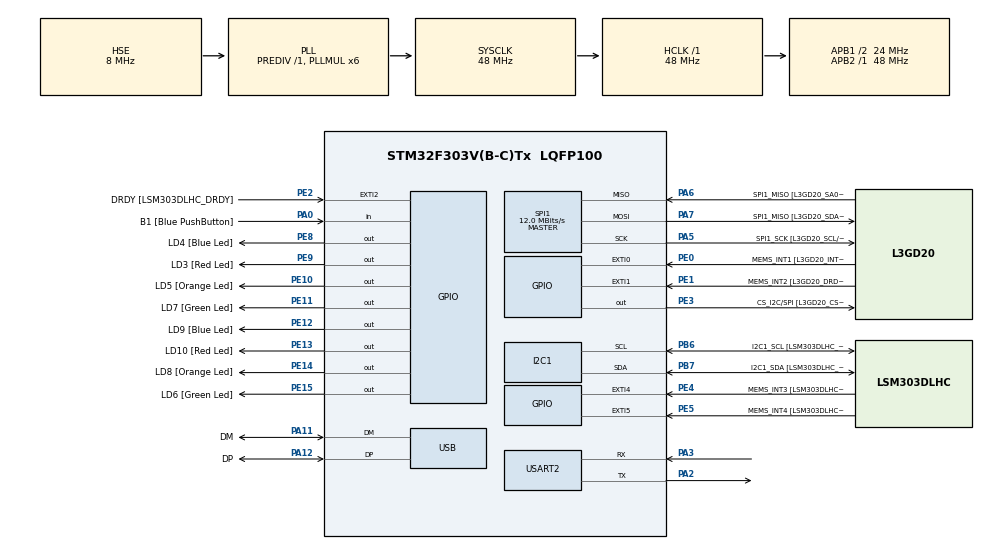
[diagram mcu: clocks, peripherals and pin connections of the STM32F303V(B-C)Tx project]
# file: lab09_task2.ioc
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I2C1.Timing=0x00201D2B
I2C1.Timing-I2C=0x2000090E
Mcu.Family=STM32F3
Mcu.Name=STM32F303V(B-C)Tx
Mcu.Package=LQFP100
NVIC.I2C1_ER_IRQn=true\:0\:0\:false\:false\:true\:true\:true\:true
NVIC.I2C1_EV_IRQn=true\:0\:0\:false\:false\:true\:true\:true\:true
NVIC.PriorityGroup=NVIC_PRIORITYGROUP_0
PA0.GPIO_Label=B1 [Blue PushButton]
PA0.Signal=GPIO_Input
PA11.GPIO_Label=DM
PA11.Mode=Device
PA11.Signal=USB_DM
PA12.GPIO_Label=DP
PA12.Mode=Device
PA12.Signal=USB_DP
PA13.GPIO_Label=SWDIO
PA13.Mode=Serial_Wire
PA13.Signal=SYS_JTMS-SWDIO
PA14.GPIO_Label=SWCLK
PA14.Mode=Serial_Wire
PA14.Signal=SYS_JTCK-SWCLK
PA2.Mode=Asynchronous
PA2.Signal=USART2_TX
PA3.Mode=Asynchronous
PA3.Signal=USART2_RX
PA5.GPIO_Label=SPI1_SCK [L3GD20_SCL/SPC]
PA5.Mode=Full_Duplex_Master
PA5.Signal=SPI1_SCK
PA6.GPIO_Label=SPI1_MISO [L3GD20_SA0/SDO]
PA6.Mode=Full_Duplex_Master
PA6.Signal=SPI1_MISO
PA7.GPIO_Label=SPI1_MISO [L3GD20_SDA/SDI/SDO]
PA7.Mode=Full_Duplex_Master
PA7.Signal=SPI1_MOSI
PB3.GPIO_Label=SWO
PB3.Signal=SYS_JTDO-TRACESWO
PB6.GPIO_Label=I2C1_SCL [LSM303DLHC_SCL]
PB6.GPIO_Pu=GPIO_PULLUP
PB6.Mode=I2C
PB6.Signal=I2C1_SCL
PB7.GPIO_Label=I2C1_SDA [LSM303DLHC_SDA]
PB7.GPIO_Pu=GPIO_PULLUP
PB7.Mode=I2C
PB7.Signal=I2C1_SDA
PC14-OSC32_IN.GPIO_Label=OSC32_IN
PC14-OSC32_IN.Signal=RCC_OSC32_IN
PC15-OSC32_OUT.GPIO_Label=OSC32_OUT
PC15-OSC32_OUT.Signal=RCC_OSC32_OUT
PE0.GPIO_Label=MEMS_INT1 [L3GD20_INT1]
PE0.GPIO_ModeDefaultEXTI=GPIO_MODE_EVT_RISING
PE0.Signal=GPXTI0
PE1.GPIO_Label=MEMS_INT2 [L3GD20_DRDY/INT2]
PE1.GPIO_ModeDefaultEXTI=GPIO_MODE_EVT_RISING
PE1.Signal=GPXTI1
PE10.GPIO_Label=LD5 [Orange Led]
PE10.Signal=GPIO_Output
PE11.GPIO_Label=LD7 [Green Led]
PE11.Signal=GPIO_Output
PE12.GPIO_Label=LD9 [Blue Led]
PE12.Signal=GPIO_Output
PE13.GPIO_Label=LD10 [Red Led]
PE13.Signal=GPIO_Output
PE14.GPIO_Label=LD8 [Orange Led]
PE14.Signal=GPIO_Output
PE15.GPIO_Label=LD6 [Green Led]
PE15.Signal=GPIO_Output
PE2.GPIO_Label=DRDY [LSM303DLHC_DRDY]
PE2.GPIO_ModeDefaultEXTI=GPIO_MODE_EVT_RISING
PE2.Signal=GPXTI2
PE3.GPIO_Label=CS_I2C/SPI [L3GD20_CS_I2C/SPI]
PE3.Signal=GPIO_Output
PE4.GPIO_Label=MEMS_INT3 [LSM303DLHC_INT1]
PE4.GPIO_ModeDefaultEXTI=GPIO_MODE_EVT_RISING
PE4.Signal=GPXTI4
PE5.GPIO_Label=MEMS_INT4 [LSM303DLHC_INT2]
PE5.GPIO_ModeDefaultEXTI=GPIO_MODE_EVT_RISING
PE5.Signal=GPXTI5
PE8.GPIO_Label=LD4 [Blue Led]
PE8.Signal=GPIO_Output
PE9.GPIO_Label=LD3 [Red Led]
PE9.Signal=GPIO_Output
PF0-OSC_IN.GPIO_Label=OSC_IN
PF0-OSC_IN.Mode=HSE-External-Clock-Source
PF0-OSC_IN.Signal=RCC_OSC_IN
PF1-OSC_OUT.GPIO_Label=OSC_OUT
PF1-OSC_OUT.Signal=RCC_OSC_OUT
ProjectManager.HeapSize=0x200
ProjectManager.StackSize=0x400
ProjectManager.TargetToolchain=CMake
RCC.AHBFreq_Value=48000000
RCC.APB1CLKDivider=RCC_HCLK_DIV2
RCC.APB1Freq_Value=24000000
RCC.APB1TimFreq_Value=48000000
RCC.APB2Freq_Value=48000000
RCC.APB2TimFreq_Value=48000000
RCC.CortexFreq_Value=48000000
RCC.HCLKFreq_Value=48000000
RCC.HSE_VALUE=8000000
RCC.HSI_VALUE=8000000
RCC.LSE_VALUE=32768
RCC.PLLMUL=RCC_PLL_MUL6
RCC.SYSCLKFreq_VALUE=48000000
RCC.SYSCLKSourceVirtual=RCC_SYSCLKSOURCE_PLLCLK
RCC.USBFreq_Value=48000000
SPI1.BaudRatePrescaler=SPI_BAUDRATEPRESCALER_4
SPI1.BaudRatePrescaler-Full_Duplex_Master=SPI_BAUDRATEPRESCALER_2
SPI1.CalculateBaudRate=12.0 MBits/s
SPI1.CalculateBaudRate-Full_Duplex_Master=24.0 MBits/s
SPI1.Direction=SPI_DIRECTION_2LINES
SPI1.Mode=SPI_MODE_MASTER
SPI1.Mode-Full_Duplex_Master=SPI_MODE_MASTER
SPI1.VirtualType=VM_MASTER
USART2.VirtualMode-Asynchronous=VM_ASYNC
board=STM32F3DISCOVERY

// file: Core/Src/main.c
/* USER CODE BEGIN Header */
/**
  ******************************************************************************
  * @file           : main.c
  * @brief          : Main program body
  ******************************************************************************
  * @attention
  *
  * Copyright (c) 2026 STMicroelectronics.
  * All rights reserved.
  *
  * This software is licensed under terms that can be found in the LICENSE file
  * in the root directory of this software component.
  * If no LICENSE file comes with this software, it is provided AS-IS.
  *
  ******************************************************************************
  */
/* USER CODE END Header */
#include "main.h"

/* USER CODE BEGIN Includes */
#include <stdio.h>
#include <string.h>
#include <stdlib.h>
/* USER CODE END Includes */

/* USER CODE BEGIN PD */
#define LSM_ADDR (0x19 << 1)
/* USER CODE END PD */

I2C_HandleTypeDef hi2c1;

SPI_HandleTypeDef hspi1;

UART_HandleTypeDef huart2;

PCD_HandleTypeDef hpcd_USB_FS;

/* USER CODE BEGIN PV */
long ax, ay, az;
long offset_x = 0, offset_y = 0, offset_z = 0;
/* USER CODE END PV */

void SystemClock_Config(void);
static void MX_GPIO_Init(void);
static void MX_I2C1_Init(void);
static void MX_SPI1_Init(void);
static void MX_USB_PCD_Init(void);
static void MX_USART2_UART_Init(void);

/* USER CODE BEGIN 0 */

/* USER CODE BEGIN 0 */

// Initialize LSM303 accelerometer
void Init_LSM(void)
{
    uint8_t data = 0x67;

    HAL_I2C_Mem_Write(&hi2c1, LSM_ADDR, 0x20, I2C_MEMADD_SIZE_8BIT, &data, 1, 100);

    data = 0x00;

    HAL_I2C_Mem_Write(&hi2c1, LSM_ADDR, 0x23,  I2C_MEMADD_SIZE_8BIT, &data, 1, 100);
}

// Read X, Y, Z acceleration
HAL_StatusTypeDef Read_LSM(void)
{
    uint8_t data[6];

    HAL_StatusTypeDef status = HAL_I2C_Mem_Read(
        &hi2c1, LSM_ADDR, 0x28 | 0x80,
        I2C_MEMADD_SIZE_8BIT, data, 6, 100);

    if (status != HAL_OK)
        return status;

    // Combine low and high bytes
    int16_t x_raw = (int16_t)(((uint16_t)data[1] << 8) | data[0]);
    int16_t y_raw = (int16_t)(((uint16_t)data[3] << 8) | data[2]);
    int16_t z_raw = (int16_t)(((uint16_t)data[5] << 8) | data[4]);

    // Convert to mg using integer calculations
    ax = ((long)x_raw * 39 / 640) - offset_x;
    ay = ((long)y_raw * 39 / 640) - offset_y;
    az = ((long)z_raw * 39 / 640) - offset_z;

    return HAL_OK;
}

// Calculate offsets using 20 readings
void Offset_LSM(void)
{
  long sx = 0, sy = 0, sz = 0;

  for (int i = 0; i < 20; i++)
  {
    if (Read_LSM() == HAL_OK)
    {
      sx += ax;
      sy += ay;
      sz += az;
    }
    HAL_Delay(20);
  }

  offset_x = sx / 20;
  offset_y = sy / 20;

  // Preserve gravity on Z axis
  long avg_z = sz / 20;

  if (avg_z >= 0) offset_z = avg_z - 1000;
  else offset_z = avg_z + 1000;
}

/* USER CODE END 0 */

int main(void)
{

  /* MCU Configuration--------------------------------------------------------*/

  /* Reset of all peripherals, Initializes the Flash interface and the Systick. */
  HAL_Init();

  /* Configure the system clock */
  SystemClock_Config();

  /* Initialize all configured peripherals */
  MX_GPIO_Init();
  MX_I2C1_Init();
  MX_SPI1_Init();
  MX_USB_PCD_Init();
  MX_USART2_UART_Init();
  /* USER CODE BEGIN 2 */
  Init_LSM();
  HAL_Delay(100);
  Offset_LSM();
  /* USER CODE END 2 */

  /* Infinite loop */
  while (1)
  {

    /* USER CODE BEGIN 3 */

    char msg[100];
    if (Read_LSM() == HAL_OK)
    {
        long x = ax;
        long y = ay;
        long z = az;
        sprintf(msg,
                "X: %s%ld.%03ld g, Y: %s%ld.%03ld g, Z: %s%ld.%03ld g\r\n",
                x < 0 ? "-" : "", labs(x) / 1000, labs(x) % 1000,
                y < 0 ? "-" : "", labs(y) / 1000, labs(y) % 1000,
                z < 0 ? "-" : "", labs(z) / 1000, labs(z) % 1000);

        HAL_UART_Transmit(&huart2, (uint8_t*)msg, strlen(msg), HAL_MAX_DELAY);
    }
    HAL_Delay(100);

  }
  /* USER CODE END 3 */
}

void SystemClock_Config(void)
{
  RCC_OscInitTypeDef RCC_OscInitStruct = {0};
  RCC_ClkInitTypeDef RCC_ClkInitStruct = {0};
  RCC_PeriphCLKInitTypeDef PeriphClkInit = {0};

  /** Initializes the RCC Oscillators according to the specified parameters
  * in the RCC_OscInitTypeDef structure.
  */
  RCC_OscInitStruct.OscillatorType = RCC_OSCILLATORTYPE_HSI|RCC_OSCILLATORTYPE_HSE;
  RCC_OscInitStruct.HSEState = RCC_HSE_BYPASS;
  RCC_OscInitStruct.HSEPredivValue = RCC_HSE_PREDIV_DIV1;
  RCC_OscInitStruct.HSIState = RCC_HSI_ON;
  RCC_OscInitStruct.HSICalibrationValue = RCC_HSICALIBRATION_DEFAULT;
  RCC_OscInitStruct.PLL.PLLState = RCC_PLL_ON;
  RCC_OscInitStruct.PLL.PLLSource = RCC_PLLSOURCE_HSE;
  RCC_OscInitStruct.PLL.PLLMUL = RCC_PLL_MUL6;
  if (HAL_RCC_OscConfig(&RCC_OscInitStruct) != HAL_OK)
  {
    Error_Handler();
  }

  /** Initializes the CPU, AHB and APB buses clocks
  */
  RCC_ClkInitStruct.ClockType = RCC_CLOCKTYPE_HCLK|RCC_CLOCKTYPE_SYSCLK
                              |RCC_CLOCKTYPE_PCLK1|RCC_CLOCKTYPE_PCLK2;
  RCC_ClkInitStruct.SYSCLKSource = RCC_SYSCLKSOURCE_PLLCLK;
  RCC_ClkInitStruct.AHBCLKDivider = RCC_SYSCLK_DIV1;
  RCC_ClkInitStruct.APB1CLKDivider = RCC_HCLK_DIV2;
  RCC_ClkInitStruct.APB2CLKDivider = RCC_HCLK_DIV1;

  if (HAL_RCC_ClockConfig(&RCC_ClkInitStruct, FLASH_LATENCY_1) != HAL_OK)
  {
    Error_Handler();
  }
  PeriphClkInit.PeriphClockSelection = RCC_PERIPHCLK_USB|RCC_PERIPHCLK_USART2
                              |RCC_PERIPHCLK_I2C1;
  PeriphClkInit.Usart2ClockSelection = RCC_USART2CLKSOURCE_PCLK1;
  PeriphClkInit.I2c1ClockSelection = RCC_I2C1CLKSOURCE_HSI;
  PeriphClkInit.USBClockSelection = RCC_USBCLKSOURCE_PLL;
  if (HAL_RCCEx_PeriphCLKConfig(&PeriphClkInit) != HAL_OK)
  {
    Error_Handler();
  }
}

static void MX_I2C1_Init(void)
{

  hi2c1.Instance = I2C1;
  hi2c1.Init.Timing = 0x00201D2B;
  hi2c1.Init.OwnAddress1 = 0;
  hi2c1.Init.AddressingMode = I2C_ADDRESSINGMODE_7BIT;
  hi2c1.Init.DualAddressMode = I2C_DUALADDRESS_DISABLE;
  hi2c1.Init.OwnAddress2 = 0;
  hi2c1.Init.OwnAddress2Masks = I2C_OA2_NOMASK;
  hi2c1.Init.GeneralCallMode = I2C_GENERALCALL_DISABLE;
  hi2c1.Init.NoStretchMode = I2C_NOSTRETCH_DISABLE;
  if (HAL_I2C_Init(&hi2c1) != HAL_OK)
  {
    Error_Handler();
  }

  /** Configure Analogue filter
  */
  if (HAL_I2CEx_ConfigAnalogFilter(&hi2c1, I2C_ANALOGFILTER_ENABLE) != HAL_OK)
  {
    Error_Handler();
  }

  /** Configure Digital filter
  */
  if (HAL_I2CEx_ConfigDigitalFilter(&hi2c1, 0) != HAL_OK)
  {
    Error_Handler();
  }

}

static void MX_SPI1_Init(void)
{

  /* SPI1 parameter configuration*/
  hspi1.Instance = SPI1;
  hspi1.Init.Mode = SPI_MODE_MASTER;
  hspi1.Init.Direction = SPI_DIRECTION_2LINES;
  hspi1.Init.DataSize = SPI_DATASIZE_4BIT;
  hspi1.Init.CLKPolarity = SPI_POLARITY_LOW;
  hspi1.Init.CLKPhase = SPI_PHASE_1EDGE;
  hspi1.Init.NSS = SPI_NSS_SOFT;
  hspi1.Init.BaudRatePrescaler = SPI_BAUDRATEPRESCALER_4;
  hspi1.Init.FirstBit = SPI_FIRSTBIT_MSB;
  hspi1.Init.TIMode = SPI_TIMODE_DISABLE;
  hspi1.Init.CRCCalculation = SPI_CRCCALCULATION_DISABLE;
  hspi1.Init.CRCPolynomial = 7;
  hspi1.Init.CRCLength = SPI_CRC_LENGTH_DATASIZE;
  hspi1.Init.NSSPMode = SPI_NSS_PULSE_ENABLE;
  if (HAL_SPI_Init(&hspi1) != HAL_OK)
  {
    Error_Handler();
  }

}

static void MX_USART2_UART_Init(void)
{

  huart2.Instance = USART2;
  huart2.Init.BaudRate = 115200;
  huart2.Init.WordLength = UART_WORDLENGTH_8B;
  huart2.Init.StopBits = UART_STOPBITS_1;
  huart2.Init.Parity = UART_PARITY_NONE;
  huart2.Init.Mode = UART_MODE_TX_RX;
  huart2.Init.HwFlowCtl = UART_HWCONTROL_NONE;
  huart2.Init.OverSampling = UART_OVERSAMPLING_16;
  huart2.Init.OneBitSampling = UART_ONE_BIT_SAMPLE_DISABLE;
  huart2.AdvancedInit.AdvFeatureInit = UART_ADVFEATURE_NO_INIT;
  if (HAL_UART_Init(&huart2) != HAL_OK)
  {
    Error_Handler();
  }

}

static void MX_USB_PCD_Init(void)
{

  hpcd_USB_FS.Instance = USB;
  hpcd_USB_FS.Init.dev_endpoints = 8;
  hpcd_USB_FS.Init.speed = PCD_SPEED_FULL;
  hpcd_USB_FS.Init.phy_itface = PCD_PHY_EMBEDDED;
  hpcd_USB_FS.Init.low_power_enable = DISABLE;
  hpcd_USB_FS.Init.battery_charging_enable = DISABLE;
  if (HAL_PCD_Init(&hpcd_USB_FS) != HAL_OK)
  {
    Error_Handler();
  }

}

static void MX_GPIO_Init(void)
{
  GPIO_InitTypeDef GPIO_InitStruct = {0};

  /* GPIO Ports Clock Enable */
  __HAL_RCC_GPIOE_CLK_ENABLE();
  __HAL_RCC_GPIOC_CLK_ENABLE();
  __HAL_RCC_GPIOF_CLK_ENABLE();
  __HAL_RCC_GPIOA_CLK_ENABLE();
  __HAL_RCC_GPIOB_CLK_ENABLE();

  /*Configure GPIO pin Output Level */
  HAL_GPIO_WritePin(GPIOE, CS_I2C_SPI_Pin|LD4_Pin|LD3_Pin|LD5_Pin
                          |LD7_Pin|LD9_Pin|LD10_Pin|LD8_Pin
                          |LD6_Pin, GPIO_PIN_RESET);

  /*Configure GPIO pins : DRDY_Pin MEMS_INT3_Pin MEMS_INT4_Pin MEMS_INT1_Pin
                           MEMS_INT2_Pin */
  GPIO_InitStruct.Pin = DRDY_Pin|MEMS_INT3_Pin|MEMS_INT4_Pin|MEMS_INT1_Pin
                          |MEMS_INT2_Pin;
  GPIO_InitStruct.Mode = GPIO_MODE_EVT_RISING;
  GPIO_InitStruct.Pull = GPIO_NOPULL;
  HAL_GPIO_Init(GPIOE, &GPIO_InitStruct);

  /*Configure GPIO pins : CS_I2C_SPI_Pin LD4_Pin LD3_Pin LD5_Pin
                           LD7_Pin LD9_Pin LD10_Pin LD8_Pin
                           LD6_Pin */
  GPIO_InitStruct.Pin = CS_I2C_SPI_Pin|LD4_Pin|LD3_Pin|LD5_Pin
                          |LD7_Pin|LD9_Pin|LD10_Pin|LD8_Pin
                          |LD6_Pin;
  GPIO_InitStruct.Mode = GPIO_MODE_OUTPUT_PP;
  GPIO_InitStruct.Pull = GPIO_NOPULL;
  GPIO_InitStruct.Speed = GPIO_SPEED_FREQ_LOW;
  HAL_GPIO_Init(GPIOE, &GPIO_InitStruct);

  /*Configure GPIO pin : B1_Pin */
  GPIO_InitStruct.Pin = B1_Pin;
  GPIO_InitStruct.Mode = GPIO_MODE_INPUT;
  GPIO_InitStruct.Pull = GPIO_NOPULL;
  HAL_GPIO_Init(B1_GPIO_Port, &GPIO_InitStruct);

}

void Error_Handler(void)
{
  __disable_irq();
  while (1)
  {
  }
}
